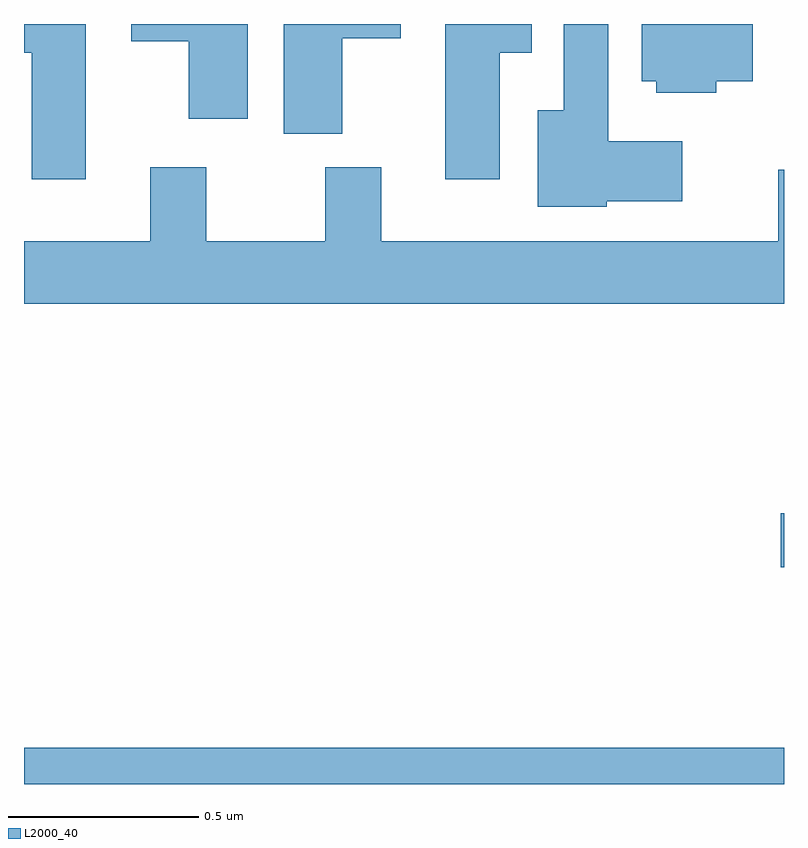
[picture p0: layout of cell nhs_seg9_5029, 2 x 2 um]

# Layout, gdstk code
import gdstk
lib = gdstk.Library(unit=1e-6, precision=1e-09)
def R(c, l, rs):  # rectangles x0, y0, x1, y1
    for r in rs: c.add(gdstk.rectangle(r[:2], r[2:], *l))
def P(c, l, *ps):  # polygons
    for p in ps: c.add(gdstk.Polygon(p, *l))
L2000_40 = (2000, 40)

nhs_seg9_5029 = lib.new_cell('nhs_seg9_5029')
R(nhs_seg9_5029, L2000_40, [(174,1184.5,176,1184.596), (175.992,1185.07,176,1185.212)])
P(nhs_seg9_5029, L2000_40, [(175.822,1186.349),(175.918,1186.349),(175.918,1186.5),(175.625,1186.5),(175.625,1186.349),(175.664,1186.349),(175.664,1186.319),(175.822,1186.319)],
  [(174.589,1186.5),(174.282,1186.5),(174.282,1186.455),(174.434,1186.455),(174.434,1186.251),(174.589,1186.251)],
  [(174.163,1186.5),(174,1186.5),(174,1186.424),(174.02,1186.424),(174.02,1186.092),(174.163,1186.092)],
  [(175.252,1186.424),(175.336,1186.424),(175.336,1186.5),(175.109,1186.5),(175.109,1186.092),(175.252,1186.092)],
  [(175.533,1186.034),(175.732,1186.034),(175.732,1186.192),(175.537,1186.192),(175.537,1186.5),(175.421,1186.5),(175.421,1186.273),(175.352,1186.273),(175.352,1186.019),(175.533,1186.019)],
  [(174.838,1186.462),(174.991,1186.462),(174.991,1186.5),(174.683,1186.5),(174.683,1186.211),(174.838,1186.211)],
  [(174.793,1186.123),(174.793,1185.928),(174.48,1185.928),(174.48,1186.123),(174.332,1186.123),(174.332,1185.928),(174,1185.928),(174,1185.764),(176,1185.764),(176,1186.116),(175.985,1186.116),(175.985,1185.928),(174.94,1185.928),(174.94,1186.123)])

lib.write_gds('nhs_seg9_5029.gds')
